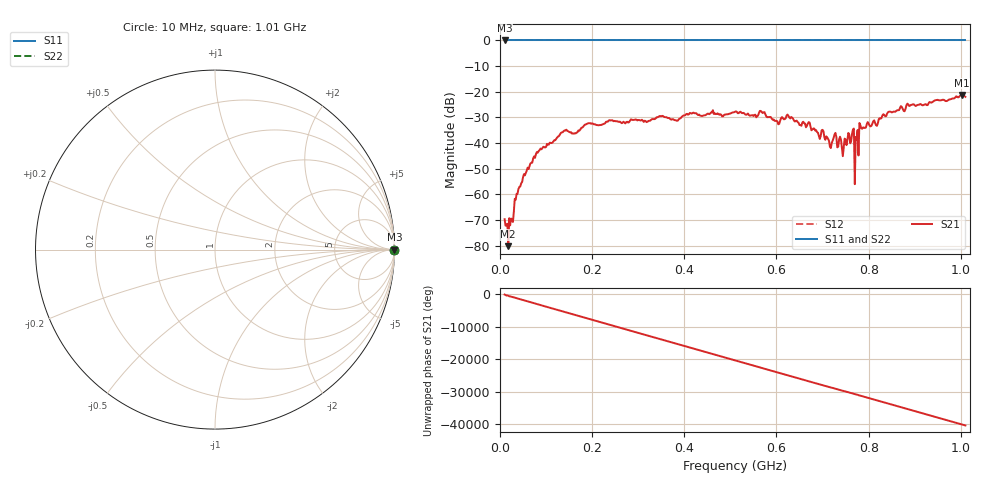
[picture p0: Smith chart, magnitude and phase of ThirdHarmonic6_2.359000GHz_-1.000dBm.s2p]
! 8/17/2025 3:36:45 AM
! C:\ANRITSUVNA\TEMP\TEMP.S2P
! CHANNEL.1
! TR.MEASUREMENT
! RAW.DATA
! RF.CORRECTION.OFF
! AVERAGING.OFF
! IF.BANDWIDTH: 5KHZ
! SWEEPTYPE:  FREQ.SWEEP(Linear)
! Reference Plane Port Info
! PORT:  PORT1  PORT2
! DISTANCE:  0  m  0  m
! TIME:  0  s  0  s
! PHASE.OFFSET:  0  deg.  0  deg.
! LOSS:  0  dB  0  dB
! REF.LOSS:  0  dB  0  dB
! REF.FREQ:  0  Hz  0  Hz
! Power Info
! POWER:  -20  dBm  -20  dBm
! EFF.POWER:  -20  dBm  -20  dBm
! SOURCE.ATTEN:  0  dB  0  dB
! TEST.ATTEN:  0  dB  0  dB
# GHZ S RI R 50.0
! FREQ.GHZ  S11RE  S11IM  S21RE  S21IM  S12RE  S12IM  S22RE  S22IM
!; PortSelection: Port_12
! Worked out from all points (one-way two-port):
!   501 points, 10 MHz to 1.01 GHz, reference 50 ohm
!   highest |S21| = -21.29 dB at 1.002 GHz (marker M1); lowest = -80.2 dB at 18 MHz (marker M2)
!   lowest |S11| = 0.0 dB at 10 MHz (marker M3)
!   |S11| at or under -10 dB: nowhere
!   |S22| runs from 0.0 to 0.0 dB; largest |S21 - S12| = 1.1
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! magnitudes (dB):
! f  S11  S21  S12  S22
! 10 MHz  0.0  -69.7  0.0  0.0
! 18 MHz  0.0  -80.2  0.0  0.0
! 26 MHz  0.0  -69.6  0.0  0.0
! 40 MHz  0.0  -57.9  0.0  0.0
! 82 MHz  0.0  -43.7  0.0  0.0
! 140 MHz  0.0  -35.1  0.0  0.0
! 178 MHz  0.0  -34.0  0.0  0.0
! 344 MHz  0.0  -29.8  0.0  0.0
! 510 MHz  0.0  -27.8  0.0  0.0
! 568 MHz  0.0  -27.9  0.0  0.0
! 602 MHz  0.0  -31.5  0.0  0.0
! 626 MHz  0.0  -29.4  0.0  0.0
! 678 MHz  0.0  -34.7  0.0  0.0
! 744 MHz  0.0  -45.1  0.0  0.0
! 764 MHz  0.0  -36.4  0.0  0.0
! 766 MHz  0.0  -34.7  0.0  0.0
! 774 MHz  0.0  -38.7  0.0  0.0
! 776 MHz  0.0  -34.9  0.0  0.0
! 784 MHz  0.0  -34.2  0.0  0.0
! 844 MHz  0.0  -27.8  0.0  0.0
! 1.002 GHz  0.0  -21.3  0.0  0.0
! 1.01 GHz  0.0  -22.0  0.0  0.0
